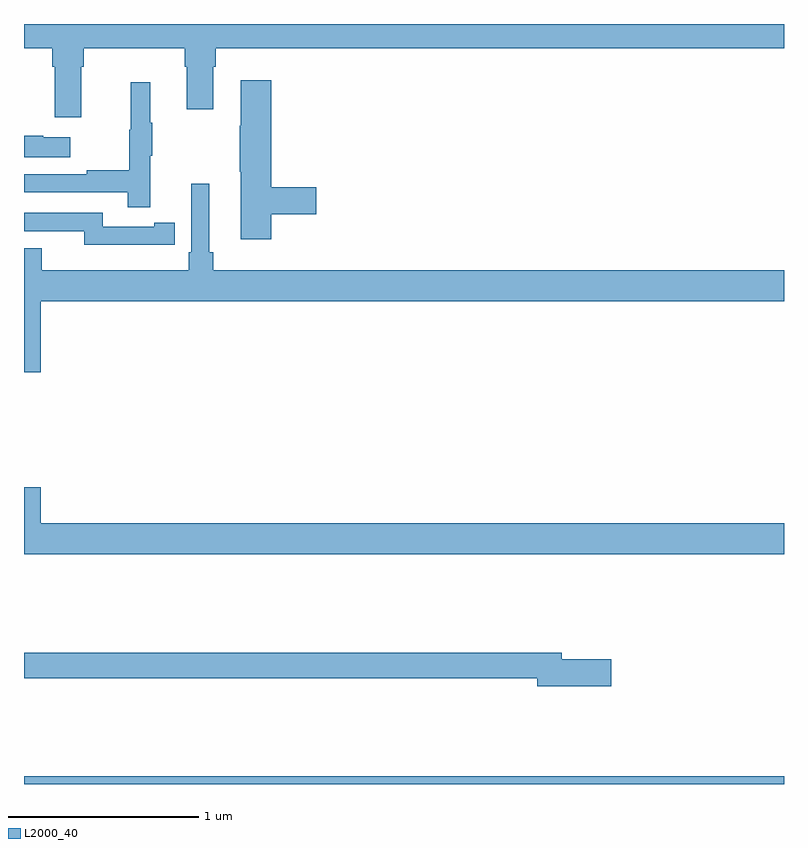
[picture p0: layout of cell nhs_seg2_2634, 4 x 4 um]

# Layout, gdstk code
import gdstk
lib = gdstk.Library(unit=1e-6, precision=1e-09)
def R(c, l, rs):  # rectangles x0, y0, x1, y1
    for r in rs: c.add(gdstk.rectangle(r[:2], r[2:], *l))
def P(c, l, *ps):  # polygons
    for p in ps: c.add(gdstk.Polygon(p, *l))
L2000_40 = (2000, 40)

nhs_seg2_2634 = lib.new_cell('nhs_seg2_2634')
R(nhs_seg2_2634, L2000_40, [(249,607.8,253,607.84)])
P(nhs_seg2_2634, L2000_40, [(249.301,611.576),(249.314,611.576),(249.314,611.672),(249.845,611.672),(249.845,611.576),(249.857,611.576),(249.857,611.352),(249.997,611.352),(249.997,611.576),(250.01,611.576),(250.01,611.672),(253,611.672),(253,611.8),(249,611.8),(249,611.672),(249.149,611.672),(249.149,611.576),(249.161,611.576),(249.161,611.31),(249.301,611.31)],
  [(250.301,610.798),(250.537,610.798),(250.537,610.94),(250.301,610.94),(250.301,611.503),(250.142,611.503),(250.142,611.264),(250.135,611.264),(250.135,611.023),(250.142,611.023),(250.142,610.668),(250.301,610.668)],
  [(249.665,611.107),(249.676,611.107),(249.676,611.281),(249.665,611.281),(249.665,611.494),(249.562,611.494),(249.562,611.244),(249.555,611.244),(249.555,611.03),(249.331,611.03),(249.331,611.01),(249,611.01),(249,610.914),(249.547,610.914),(249.547,610.836),(249.665,610.836)],
  [(249.244,611.203),(249.101,611.203),(249.101,611.213),(249,611.213),(249,611.099),(249.244,611.099)],
  [(249.088,610.34),(253,610.34),(253,610.504),(249.995,610.504),(249.995,610.6),(249.976,610.6),(249.976,610.96),(249.879,610.96),(249.879,610.6),(249.866,610.6),(249.866,610.504),(249.094,610.504),(249.094,610.621),(249,610.621),(249,609.966),(249.088,609.966)],
  [(249.686,610.638),(249.794,610.638),(249.794,610.754),(249.686,610.754),(249.686,610.734),(249.414,610.734),(249.414,610.806),(249,610.806),(249,610.71),(249.318,610.71),(249.318,610.637),(249.686,610.637)],
  [(253,609.172),(249.088,609.172),(249.088,609.361),(249,609.361),(249,609.008),(253,609.008)],
  [(252.091,608.456),(251.83,608.456),(251.83,608.492),(249,608.492),(249,608.356),(251.702,608.356),(251.702,608.314),(252.091,608.314)])

lib.write_gds('nhs_seg2_2634.gds')
